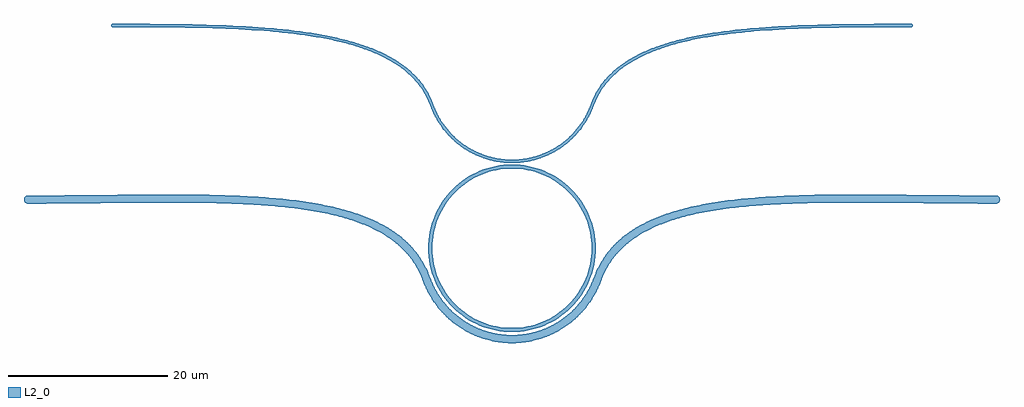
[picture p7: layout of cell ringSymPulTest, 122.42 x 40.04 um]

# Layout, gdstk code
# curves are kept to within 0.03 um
import gdstk
lib = gdstk.Library(unit=1e-6, precision=1e-09)
def P(c, l, *ps):  # polygons
    for p in ps: c.add(gdstk.Polygon(p, *l))
L2_0 = (2, 0)

ringsympultest = lib.new_cell('ringSymPulTest')
P(ringsympultest, L2_0, [(-10,8.1),(-10.909,8.135),(-11.813,8.239),(-12.817,8.438),(-13.692,8.687),(-14.545,9.002),(-15.473,9.433),(-16.264,9.882),(-17.111,10.458),(-17.819,11.029),(-18.561,11.734),(-19.167,12.412),(-19.72,13.135),(-20.216,13.897),(-20.652,14.695),(-21.502,16.716),(-22.076,17.815),(-22.845,18.926),(-23.746,19.928),(-24.349,20.479),(-25.11,21.077),(-26.054,21.703),(-26.813,22.135),(-28.488,22.917),(-30.661,23.682),(-33.052,24.297),(-35.648,24.778),(-38.446,25.142),(-41.913,25.436),(-46.081,25.631),(-51.014,25.717),(-70.712,25.601),(-70.951,25.661),(-71.127,25.821),(-71.21,26.05),(-71.19,26.25),(-70.992,26.516),(-70.712,26.601),(-53.084,26.722),(-48.985,26.695),(-44.605,26.578),(-40.494,26.336),(-36.675,25.937),(-35.074,25.699),(-33.165,25.343),(-31.713,25.008),(-30.33,24.626),(-28.085,23.833),(-26.905,23.304),(-26.061,22.863),(-25.128,22.302),(-24.379,21.78),(-23.678,21.221),(-23.026,20.622),(-22.051,19.534),(-21.219,18.329),(-20.596,17.14),(-19.757,15.141),(-19.022,13.883),(-18.593,13.293),(-17.985,12.58),(-16.842,11.515),(-16.088,10.959),(-15.289,10.469),(-14.45,10.05),(-13.579,9.704),(-12.782,9.461),(-11.866,9.261),(-10.937,9.14),(-10,9.1)],
  [(-10,8.1),(-10,9.1),(-9.063,9.14),(-8.134,9.261),(-7.218,9.461),(-6.421,9.704),(-5.55,10.05),(-4.711,10.469),(-3.912,10.959),(-3.158,11.515),(-2.015,12.58),(-1.407,13.293),(-0.978,13.883),(-0.243,15.141),(0.596,17.14),(1.219,18.329),(2.051,19.534),(3.026,20.622),(3.678,21.221),(4.379,21.78),(5.128,22.302),(6.061,22.863),(6.905,23.304),(8.085,23.833),(10.33,24.626),(11.713,25.008),(13.165,25.343),(14.684,25.633),(16.675,25.937),(20.494,26.336),(24.605,26.578),(28.985,26.695),(33.084,26.722),(50.712,26.601),(50.992,26.516),(51.19,26.25),(51.21,26.05),(51.127,25.821),(50.951,25.661),(50.712,25.601),(31.014,25.717),(26.081,25.631),(21.913,25.436),(18.446,25.142),(15.648,24.778),(13.052,24.297),(10.661,23.682),(8.488,22.917),(6.813,22.135),(6.054,21.703),(5.11,21.077),(4.349,20.479),(3.746,19.928),(2.845,18.926),(2.076,17.815),(1.502,16.716),(0.652,14.695),(0.216,13.897),(-0.28,13.135),(-0.833,12.412),(-1.439,11.734),(-2.181,11.029),(-2.889,10.458),(-3.736,9.882),(-4.527,9.433),(-5.455,9.002),(-6.308,8.687),(-7.183,8.438),(-8.187,8.239),(-9.091,8.135)],
  [(-10,9.5),(-11.029,9.551),(-12.048,9.702),(-13.048,9.952),(-14.018,10.299),(-14.95,10.74),(-15.833,11.27),(-16.661,11.883),(-17.425,12.575),(-18.117,13.339),(-18.73,14.167),(-19.26,15.05),(-19.701,15.982),(-20.048,16.952),(-20.298,17.952),(-20.449,18.971),(-20.5,20),(-20.449,21.029),(-20.298,22.048),(-20.048,23.048),(-19.701,24.018),(-19.26,24.95),(-18.73,25.833),(-18.117,26.661),(-17.425,27.425),(-16.661,28.117),(-15.833,28.73),(-14.95,29.26),(-14.018,29.701),(-13.048,30.048),(-12.048,30.298),(-11.029,30.449),(-10,30.5),(-8.971,30.449),(-7.952,30.298),(-6.952,30.048),(-5.982,29.701),(-5.05,29.26),(-4.167,28.73),(-3.339,28.117),(-2.575,27.425),(-1.883,26.661),(-1.27,25.833),(-0.74,24.95),(-0.299,24.018),(0.048,23.048),(0.298,22.048),(0.449,21.029),(0.5,20),(0,20),(-0.108,21.467),(-0.431,22.903),(-0.96,24.276),(-1.423,25.141),(-1.968,25.957),(-2.59,26.716),(-3.656,27.73),(-4.859,28.577),(-6.173,29.239),(-7.57,29.7),(-9.02,29.952),(-10.491,29.988),(-11.951,29.808),(-13.369,29.415),(-14.714,28.819),(-15.957,28.032),(-17.071,27.071),(-18.032,25.957),(-18.577,25.141),(-19.04,24.276),(-19.569,22.903),(-19.808,21.951),(-19.988,20.491),(-19.952,19.02),(-19.808,18.049),(-19.569,17.097),(-19.04,15.724),(-18.315,14.444),(-17.73,13.656),(-16.716,12.59),(-15.957,11.968),(-14.714,11.181),(-13.827,10.761),(-12.43,10.3),(-11.467,10.108),(-10.491,10.012),(-9.02,10.048),(-8.049,10.192),(-6.631,10.585),(-5.724,10.96),(-4.444,11.685),(-3.284,12.59),(-2.59,13.284),(-1.968,14.043),(-1.423,14.859),(-0.761,16.173),(-0.3,17.57),(-0.108,18.533),(0,20),(0.5,20),(0.449,18.971),(0.298,17.952),(0.048,16.952),(-0.299,15.982),(-0.74,15.05),(-1.27,14.167),(-1.883,13.339),(-2.575,12.575),(-3.339,11.883),(-4.167,11.27),(-5.05,10.74),(-5.982,10.299),(-6.952,9.952),(-7.952,9.702),(-8.971,9.551)],
  [(-10,30.7),(-10.937,30.74),(-11.866,30.861),(-12.782,31.061),(-13.579,31.304),(-14.355,31.608),(-15.197,32.019),(-15.914,32.444),(-16.679,32.986),(-17.317,33.521),(-17.985,34.18),(-18.963,35.397),(-19.757,36.741),(-20.507,38.526),(-21.039,39.549),(-21.681,40.493),(-22.595,41.526),(-23.85,42.601),(-25.302,43.545),(-26.952,44.371),(-28.781,45.081),(-31.079,45.762),(-33.586,46.315),(-36.65,46.804),(-39.943,47.167),(-43.442,47.422),(-48.397,47.626),(-53.639,47.717),(-60.055,47.74),(-60.221,47.829),(-60.246,48),(-60.167,48.106),(-60.055,48.14),(-60.055,47.74),(-60.055,48.14),(-56.344,48.134),(-50.963,48.083),(-47.519,48),(-44.206,47.863),(-41.037,47.66),(-37.663,47.334),(-34.174,46.829),(-31.275,46.223),(-30.069,45.903),(-28.637,45.454),(-26.78,44.732),(-25.102,43.892),(-23.607,42.918),(-22.84,42.3),(-22.31,41.806),(-21.364,40.737),(-20.699,39.76),(-20.147,38.701),(-19.399,36.92),(-18.691,35.707),(-17.692,34.452),(-17.123,33.886),(-16.513,33.364),(-15.356,32.569),(-14.01,31.896),(-12.97,31.529),(-11.995,31.291),(-11.002,31.148),(-10,31.1)],
  [(-10,30.7),(-10,31.1),(-8.998,31.148),(-8.005,31.291),(-7.03,31.529),(-5.99,31.896),(-4.644,32.569),(-3.487,33.364),(-2.877,33.886),(-2.308,34.452),(-1.309,35.707),(-0.601,36.92),(0.147,38.701),(0.579,39.555),(1.222,40.548),(2.141,41.636),(2.659,42.139),(3.409,42.768),(4.878,43.761),(6.529,44.62),(8.361,45.358),(10.666,46.067),(13.509,46.708),(16.587,47.199),(20.27,47.597),(24.206,47.863),(28.368,48.025),(33.623,48.117),(40.055,48.14),(40.055,47.74),(32.747,47.708),(27.55,47.601),(22.648,47.373),(18.821,47.059),(15.602,46.656),(12.94,46.188),(10.485,45.604),(8.509,44.987),(6.705,44.261),(5.081,43.417),(3.659,42.456),(2.432,41.362),(1.544,40.311),(0.923,39.351),(0.507,38.526),(-0.243,36.741),(-1.037,35.397),(-2.015,34.18),(-2.683,33.521),(-3.321,32.986),(-4.086,32.444),(-4.803,32.019),(-5.645,31.608),(-6.421,31.304),(-7.218,31.061),(-8.134,30.861),(-9.063,30.74)],
  [(40.055,47.74),(40.055,48.14),(40.133,48.125),(40.196,48.082),(40.239,48.018),(40.255,47.94),(40.239,47.863),(40.196,47.799),(40.133,47.756)])

lib.write_gds('ringSymPulTest.gds')
